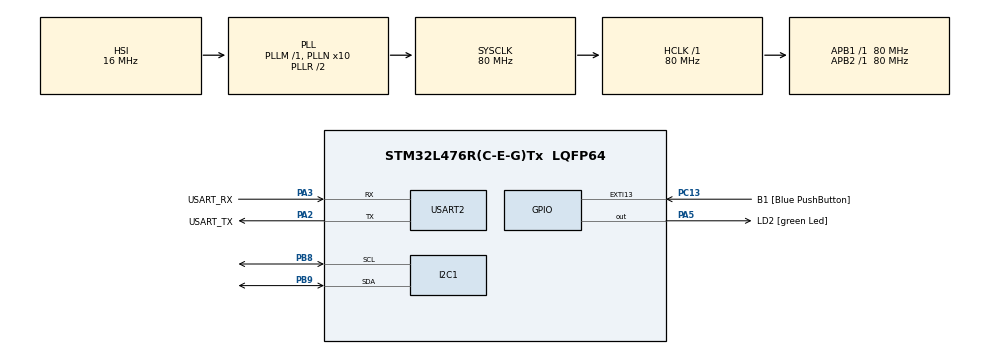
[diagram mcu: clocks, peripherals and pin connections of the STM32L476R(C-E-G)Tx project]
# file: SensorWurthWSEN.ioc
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I2C1.Timing=0x10D19CE4
Mcu.Family=STM32L4
Mcu.Name=STM32L476R(C-E-G)Tx
Mcu.Package=LQFP64
NVIC.I2C1_ER_IRQn=true\:0\:0\:false\:false\:true\:true\:true\:true
NVIC.I2C1_EV_IRQn=true\:0\:0\:false\:false\:true\:true\:true\:true
NVIC.PriorityGroup=NVIC_PRIORITYGROUP_4
NVIC.TIM2_IRQn=true\:0\:0\:false\:false\:true\:true\:true\:true
PA13\ (JTMS-SWDIO).GPIO_Label=TMS
PA13\ (JTMS-SWDIO).Mode=Serial_Wire
PA13\ (JTMS-SWDIO).Signal=SYS_JTMS-SWDIO
PA14\ (JTCK-SWCLK).GPIO_Label=TCK
PA14\ (JTCK-SWCLK).Mode=Serial_Wire
PA14\ (JTCK-SWCLK).Signal=SYS_JTCK-SWCLK
PA2.GPIO_Label=USART_TX
PA2.GPIO_Mode=GPIO_MODE_AF_PP
PA2.GPIO_PuPd=GPIO_NOPULL
PA2.GPIO_Speed=GPIO_SPEED_FREQ_VERY_HIGH
PA2.Mode=Asynchronous
PA2.Signal=USART2_TX
PA3.GPIO_Label=USART_RX
PA3.GPIO_Mode=GPIO_MODE_AF_PP
PA3.GPIO_PuPd=GPIO_NOPULL
PA3.GPIO_Speed=GPIO_SPEED_FREQ_VERY_HIGH
PA3.Mode=Asynchronous
PA3.Signal=USART2_RX
PA5.GPIO_Label=LD2 [green Led]
PA5.GPIO_ModeDefaultOutputPP=GPIO_MODE_OUTPUT_PP
PA5.GPIO_PuPd=GPIO_NOPULL
PA5.GPIO_Speed=GPIO_SPEED_FREQ_LOW
PA5.Signal=GPIO_Output
PB3\ (JTDO-TRACESWO).GPIO_Label=SWO
PB3\ (JTDO-TRACESWO).Signal=SYS_JTDO-SWO
PB8.GPIO_Pu=GPIO_PULLUP
PB8.Mode=I2C
PB8.Signal=I2C1_SCL
PB9.GPIO_Pu=GPIO_PULLUP
PB9.Mode=I2C
PB9.Signal=I2C1_SDA
PC13.GPIO_Label=B1 [Blue PushButton]
PC13.GPIO_ModeDefaultEXTI=GPIO_MODE_IT_FALLING
PC13.GPIO_PuPd=GPIO_NOPULL
PC13.Signal=GPXTI13
PC14-OSC32_IN\ (PC14).Mode=LSE-External-Oscillator
PC14-OSC32_IN\ (PC14).Signal=RCC_OSC32_IN
PC15-OSC32_OUT\ (PC15).Mode=LSE-External-Oscillator
PC15-OSC32_OUT\ (PC15).Signal=RCC_OSC32_OUT
PH0-OSC_IN\ (PH0).Signal=RCC_OSC_IN
PH1-OSC_OUT\ (PH1).Signal=RCC_OSC_OUT
ProjectManager.HeapSize=0x200
ProjectManager.StackSize=0x400
ProjectManager.TargetToolchain=STM32CubeIDE
RCC.ADCFreq_Value=64000000
RCC.AHBFreq_Value=80000000
RCC.APB1Freq_Value=80000000
RCC.APB1TimFreq_Value=80000000
RCC.APB2Freq_Value=80000000
RCC.APB2TimFreq_Value=80000000
RCC.CortexFreq_Value=80000000
RCC.HCLKFreq_Value=80000000
RCC.HSE_VALUE=8000000
RCC.HSI_VALUE=16000000
RCC.MSI_VALUE=4000000
RCC.PLLN=10
RCC.PLLSourceVirtual=RCC_PLLSOURCE_HSI
RCC.PREFETCH_ENABLE=1
RCC.SYSCLKFreq_VALUE=80000000
RCC.SYSCLKSource=RCC_SYSCLKSOURCE_PLLCLK
RCC.USBFreq_Value=64000000
RCC.VCOOutputFreq_Value=160000000
TIM2.Period=1000000-1
TIM2.Prescaler=80-1
USART2.VirtualMode-Asynchronous=VM_ASYNC
VP_TIM2_VS_ClockSourceINT.Mode=Internal
board=NUCLEO-L476RG

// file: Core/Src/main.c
/* USER CODE BEGIN Header */
/**
  ******************************************************************************
  * @file           : main.c
  * @brief          : Main program body
  ******************************************************************************
  * @attention
  *
  * Copyright (c) 2024 STMicroelectronics.
  * All rights reserved.
  *
  * This software is licensed under terms that can be found in the LICENSE file
  * in the root directory of this software component.
  * If no LICENSE file comes with this software, it is provided AS-IS.
  *
  ******************************************************************************
  */
/* USER CODE END Header */
#include "main.h"
#include "i2c.h"
#include "tim.h"
#include "usart.h"
#include "gpio.h"
#include "6axis.h"
/* USER CODE BEGIN Includes */

#include <stdio.h>
#include <stdint.h>
/* USER CODE END Includes */

void SystemClock_Config(void);
/* USER CODE BEGIN PFP */
//void check_device_communication();
//void Init_HighPerf_Mode_6_axis(void);
//HAL_StatusTypeDef Read_sensor_data();
//void Display_6_axis_data(void);
extern I2C_HandleTypeDef hi2c1;
extern UART_HandleTypeDef huart2;
/* USER CODE END PFP */

/* USER CODE BEGIN 0 */
#ifdef __GNUC__
#define PUTCHAR_PROTOTYPE int __io_putchar(int ch)
#define GETCHAR_PROTOTYPE int __io_getchar(void)
#else
#define PUTCHAR_PROTOTYPE int fputc(int ch, FILE *f)
#define GETCHAR_PROTOTYPE int fgetc(FILE *f)
#endif

PUTCHAR_PROTOTYPE
{
  HAL_UART_Transmit(&huart2, (uint8_t *)&ch, 1, HAL_MAX_DELAY);
  return ch;
}

GETCHAR_PROTOTYPE
{
  uint8_t ch = 0;

  /* Clear the Overrun flag just before receiving the first character */
  __HAL_UART_CLEAR_OREFLAG(&huart2);

  /* Wait for reception of a character on the USART RX line and echo this
   * character on console */
  HAL_UART_Receive(&huart2, (uint8_t *)&ch, 1, HAL_MAX_DELAY);
  HAL_UART_Transmit(&huart2, (uint8_t *)&ch, 1, HAL_MAX_DELAY);
  return ch;
}

/* USER CODE END 0 */

int main(void)
{

  /* MCU Configuration--------------------------------------------------------*/

  /* Reset of all peripherals, Initializes the Flash interface and the Systick. */
  HAL_Init();

  /* Configure the system clock */
  SystemClock_Config();

  /* Initialize all configured peripherals */
  MX_GPIO_Init();
  MX_USART2_UART_Init();
  MX_I2C1_Init();
  MX_TIM2_Init();
  /* USER CODE BEGIN 2 */
  HAL_TIM_Base_Start_IT(&htim2);
  check_device_communication();
  Init_HighPerf_Mode_6_axis();
  /* USER CODE END 2 */

  /* Infinite loop */
  while (1)
  {

    /* USER CODE BEGIN 3 */
	  //check_device_communication();
	  //Init_HighPerf_Mode_6_axis();
	  //Display_6_axis_data();

  }
  /* USER CODE END 3 */
}

void SystemClock_Config(void)
{
  RCC_OscInitTypeDef RCC_OscInitStruct = {0};
  RCC_ClkInitTypeDef RCC_ClkInitStruct = {0};

  /** Configure the main internal regulator output voltage
  */
  if (HAL_PWREx_ControlVoltageScaling(PWR_REGULATOR_VOLTAGE_SCALE1) != HAL_OK)
  {
    Error_Handler();
  }

  /** Initializes the RCC Oscillators according to the specified parameters
  * in the RCC_OscInitTypeDef structure.
  */
  RCC_OscInitStruct.OscillatorType = RCC_OSCILLATORTYPE_HSI;
  RCC_OscInitStruct.HSIState = RCC_HSI_ON;
  RCC_OscInitStruct.HSICalibrationValue = RCC_HSICALIBRATION_DEFAULT;
  RCC_OscInitStruct.PLL.PLLState = RCC_PLL_ON;
  RCC_OscInitStruct.PLL.PLLSource = RCC_PLLSOURCE_HSI;
  RCC_OscInitStruct.PLL.PLLM = 1;
  RCC_OscInitStruct.PLL.PLLN = 10;
  RCC_OscInitStruct.PLL.PLLP = RCC_PLLP_DIV7;
  RCC_OscInitStruct.PLL.PLLQ = RCC_PLLQ_DIV2;
  RCC_OscInitStruct.PLL.PLLR = RCC_PLLR_DIV2;
  if (HAL_RCC_OscConfig(&RCC_OscInitStruct) != HAL_OK)
  {
    Error_Handler();
  }

  /** Initializes the CPU, AHB and APB buses clocks
  */
  RCC_ClkInitStruct.ClockType = RCC_CLOCKTYPE_HCLK|RCC_CLOCKTYPE_SYSCLK
                              |RCC_CLOCKTYPE_PCLK1|RCC_CLOCKTYPE_PCLK2;
  RCC_ClkInitStruct.SYSCLKSource = RCC_SYSCLKSOURCE_PLLCLK;
  RCC_ClkInitStruct.AHBCLKDivider = RCC_SYSCLK_DIV1;
  RCC_ClkInitStruct.APB1CLKDivider = RCC_HCLK_DIV1;
  RCC_ClkInitStruct.APB2CLKDivider = RCC_HCLK_DIV1;

  if (HAL_RCC_ClockConfig(&RCC_ClkInitStruct, FLASH_LATENCY_4) != HAL_OK)
  {
    Error_Handler();
  }
}

void Error_Handler(void)
{
  __disable_irq();
  while (1)
  {
  }
}
